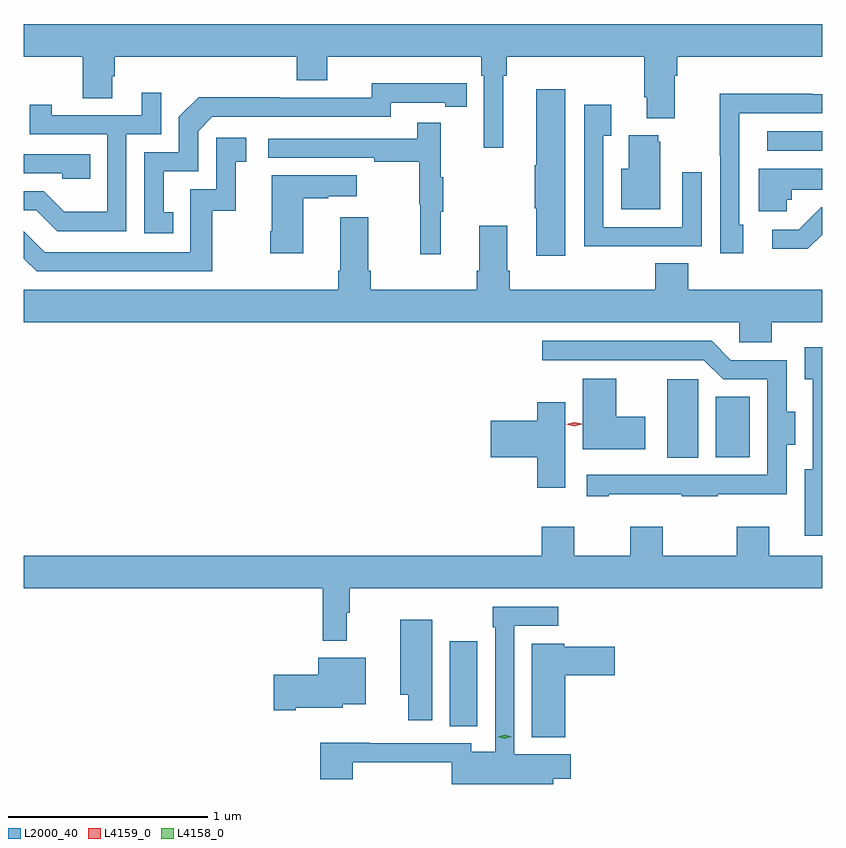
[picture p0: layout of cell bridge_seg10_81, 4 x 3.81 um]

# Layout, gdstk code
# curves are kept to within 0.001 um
import gdstk
lib = gdstk.Library(unit=1e-6, precision=1e-09)
def R(c, l, rs):  # rectangles x0, y0, x1, y1
    for r in rs: c.add(gdstk.rectangle(r[:2], r[2:], *l))
def P(c, l, *ps):  # polygons
    for p in ps: c.add(gdstk.Polygon(p, *l))
L2000_40 = (2000, 40)
L4158_0 = (4158, 0)
L4159_0 = (4159, 0)

bridge_seg10_81 = lib.new_cell('bridge_seg10_81')
R(bridge_seg10_81, L2000_40, [(671.51,1275.649,671.647,1276.075), (672.599,1276.993,672.754,1277.388), (672.842,1276.997,673.012,1277.299), (673.101,1278.534,673.375,1278.63)])
P(bridge_seg10_81, L2000_40, [(671.776,1278.908),(671.795,1278.908),(671.795,1279.004),(672.485,1279.004),(672.485,1278.802),(672.497,1278.802),(672.497,1278.695),(672.637,1278.695),(672.637,1278.908),(672.65,1278.908),(672.65,1279.004),(673.375,1279.004),(673.375,1279.168),(669.375,1279.168),(669.375,1279.004),(669.67,1279.004),(669.67,1278.796),(669.817,1278.796),(669.817,1278.906),(669.83,1278.906),(669.83,1279.004),(670.742,1279.004),(670.742,1278.887),(670.894,1278.887),(670.894,1279.004),(671.666,1279.004),(671.666,1278.908),(671.679,1278.908),(671.679,1278.549),(671.776,1278.549)],
  [(670.124,1278.225),(670.075,1278.225),(670.075,1278.429),(670.248,1278.429),(670.248,1278.63),(670.32,1278.702),(671.214,1278.702),(671.214,1278.774),(671.486,1278.774),(671.486,1278.754),(671.594,1278.754),(671.594,1278.87),(671.118,1278.871),(671.118,1278.798),(670.658,1278.798),(670.658,1278.8),(670.25,1278.8),(670.152,1278.702),(670.152,1278.525),(669.978,1278.525),(669.978,1278.12),(670.124,1278.12)],
  [(672.088,1278.841),(671.942,1278.841),(671.942,1278.461),(671.935,1278.461),(671.935,1278.244),(671.942,1278.244),(671.942,1278.006),(672.088,1278.006)],
  [(669.888,1278.615),(670.062,1278.615),(670.062,1278.823),(669.965,1278.823),(669.965,1278.711),(669.514,1278.711),(669.514,1278.763),(669.403,1278.763),(669.403,1278.615),(669.792,1278.615),(669.792,1278.226),(669.578,1278.226),(669.474,1278.33),(669.375,1278.33),(669.375,1278.234),(669.437,1278.234),(669.542,1278.129),(669.888,1278.129)],
  [(672.979,1278.162),(672.96,1278.162),(672.96,1278.502),(672.961,1278.502),(672.961,1278.72),(673.375,1278.72),(673.375,1278.816),(673.325,1278.816),(673.325,1278.818),(672.862,1278.818),(672.862,1278.511),(672.864,1278.511),(672.864,1278.018),(672.979,1278.018)],
  [(672.455,1278.054),(672.771,1278.054),(672.771,1278.424),(672.675,1278.424),(672.675,1278.15),(672.279,1278.15),(672.279,1278.607),(672.319,1278.607),(672.319,1278.763),(672.183,1278.763),(672.183,1278.053),(672.455,1278.053)],
  [(671.465,1278.227),(671.476,1278.227),(671.476,1278.401),(671.465,1278.401),(671.465,1278.673),(671.347,1278.673),(671.347,1278.594),(670.599,1278.594),(670.599,1278.498),(671.131,1278.498),(671.131,1278.478),(671.355,1278.478),(671.355,1278.264),(671.362,1278.264),(671.362,1278.015),(671.465,1278.015)],
  [(672.565,1278.579),(672.554,1278.579),(672.554,1278.61),(672.407,1278.61),(672.407,1278.442),(672.368,1278.442),(672.368,1278.239),(672.565,1278.239)],
  [(670.318,1278.231),(670.436,1278.231),(670.436,1278.477),(670.489,1278.477),(670.489,1278.598),(670.338,1278.598),(670.338,1278.339),(670.209,1278.339),(670.209,1278.024),(669.48,1278.024),(669.375,1278.129),(669.375,1277.991),(669.438,1277.928),(670.318,1277.928)],
  [(669.707,1278.516),(669.375,1278.516),(669.375,1278.42),(669.567,1278.42),(669.567,1278.393),(669.707,1278.393)],
  [(673.197,1278.288),(673.224,1278.288),(673.224,1278.338),(673.375,1278.338),(673.375,1278.442),(673.058,1278.442),(673.058,1278.23),(673.197,1278.23)],
  [(670.774,1278.295),(670.901,1278.295),(670.901,1278.305),(671.044,1278.305),(671.044,1278.409),(670.616,1278.409),(670.616,1278.13),(670.609,1278.13),(670.609,1278.018),(670.774,1278.018)],
  [(673.375,1278.112),(673.375,1278.249),(673.37,1278.249),(673.259,1278.138),(673.125,1278.138),(673.125,1278.041),(673.303,1278.041)],
  [(673.124,1277.672),(673.375,1277.672),(673.375,1277.836),(672.704,1277.836),(672.704,1277.969),(672.539,1277.969),(672.539,1277.836),(671.81,1277.836),(671.81,1277.932),(671.797,1277.932),(671.797,1278.157),(671.657,1278.157),(671.657,1277.932),(671.645,1277.932),(671.645,1277.836),(671.114,1277.836),(671.114,1277.932),(671.101,1277.932),(671.101,1278.199),(670.961,1278.199),(670.961,1277.932),(670.949,1277.932),(670.949,1277.836),(669.375,1277.836),(669.375,1277.672),(672.96,1277.672),(672.96,1277.574),(673.124,1277.574)],
  [(672.307,1276.811),(672.673,1276.811),(672.673,1276.8),(672.851,1276.8),(672.851,1276.811),(673.197,1276.811),(673.197,1277.06),(673.24,1277.06),(673.24,1277.224),(673.198,1277.224),(673.198,1277.484),(672.918,1277.484),(672.822,1277.58),(671.973,1277.58),(671.973,1277.484),(672.783,1277.484),(672.879,1277.388),(673.101,1277.388),(673.101,1276.908),(672.195,1276.908),(672.195,1276.8),(672.307,1276.8)],
  [(673.375,1277.548),(673.289,1277.548),(673.289,1277.387),(673.329,1277.387),(673.329,1276.936),(673.289,1276.936),(673.289,1276.602),(673.375,1276.602)],
  [(672.49,1277.2),(672.343,1277.2),(672.343,1277.389),(672.176,1277.389),(672.176,1277.036),(672.49,1277.036)],
  [(672.088,1277.272),(671.948,1277.272),(671.948,1277.18),(671.715,1277.18),(671.715,1276.997),(671.948,1276.997),(671.948,1276.845),(672.088,1276.845)],
  [(670.994,1276.217),(671.009,1276.217),(671.009,1276.34),(673.375,1276.34),(673.375,1276.504),(673.111,1276.504),(673.111,1276.648),(672.947,1276.648),(672.947,1276.504),(672.577,1276.504),(672.577,1276.648),(672.413,1276.648),(672.413,1276.504),(672.133,1276.504),(672.133,1276.648),(671.969,1276.648),(671.969,1276.504),(669.375,1276.504),(669.375,1276.34),(670.873,1276.34),(670.873,1276.077),(670.994,1276.077)],
  [(672.027,1275.386),(672.115,1275.386),(672.115,1275.508),(671.832,1275.508),(671.832,1276.152),(672.052,1276.152),(672.052,1276.248),(671.724,1276.248),(671.724,1276.145),(671.736,1276.145),(671.736,1275.52),(671.616,1275.52),(671.616,1275.564),(671.107,1275.564),(671.107,1275.565),(670.859,1275.565),(670.859,1275.384),(671.024,1275.384),(671.024,1275.467),(671.52,1275.467),(671.52,1275.359),(672.027,1275.359)],
  [(671.422,1276.183),(671.261,1276.183),(671.261,1275.806),(671.3,1275.806),(671.3,1275.678),(671.422,1275.678)],
  [(672.088,1275.905),(672.337,1275.905),(672.337,1276.047),(672.084,1276.047),(672.084,1276.063),(671.921,1276.063),(671.921,1275.593),(672.088,1275.593)],
  [(670.738,1275.74),(670.974,1275.74),(670.974,1275.758),(671.089,1275.758),(671.089,1275.991),(670.85,1275.991),(670.85,1275.906),(670.626,1275.906),(670.626,1275.728),(670.738,1275.728)])
P(bridge_seg10_81, L4158_0, [(671.783,1275.586),(671.749,1275.597),(671.748,1275.597),(671.749,1275.597),(671.784,1275.606),(671.819,1275.596),(671.819,1275.596),(671.819,1275.595)])
P(bridge_seg10_81, L4159_0, [(672.132,1277.152),(672.093,1277.161),(672.093,1277.162),(672.093,1277.162),(672.132,1277.172),(672.171,1277.164),(672.172,1277.163),(672.171,1277.163)])

lib.write_gds('bridge_seg10_81.gds')
